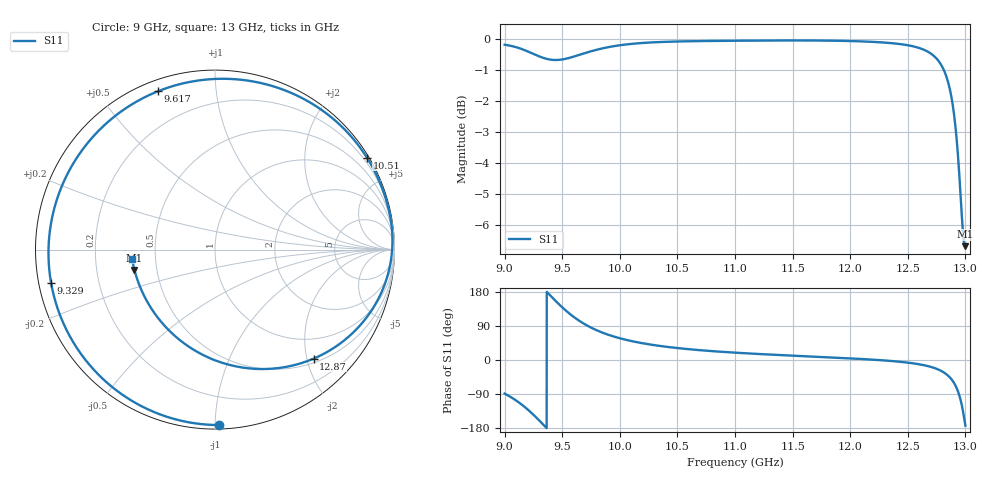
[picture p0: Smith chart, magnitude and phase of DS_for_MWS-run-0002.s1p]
! TOUCHSTONE file generated by CST DESIGN STUDIO
! Date and time: Tue Feb  4 17:22:45 2025
! Project name: C:\Work\MatlabApps\UnitCellOptimizationMatlab\CST\unitcell.cst
! Tree item: Tasks\Sweep1\SPara1\S-Parameters
! Header version: 2024
! Port assignment regex: !\s*Touchstone port\s*([0-9]+)\s*=\s*(CST MWS port|CST DES external port|CST DES block port)\s*(.+)\s* \(\"(.*)\"\)(\s*mode\s*([0-9]+))?.*
! Touchstone port assignment:
! Touchstone port 1 = CST DES external port 1 ("")
# GHz S MA R 50
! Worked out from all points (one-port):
!   4001 points, 9 GHz to 13 GHz, reference 50 ohm
!   lowest |S11| = -6.7 dB at 13 GHz (marker M1), VSWR 2.72, Z = 18.6 - j5.4 ohm
!   |S11| at or under -10 dB: nowhere
!   S11 on the Smith chart (normalised r, x): 9 GHz: 0.02, -1.02; 9.329 GHz: 0.04, -0.10; 9.617 GHz: 0.05, +0.70; 10.51 GHz: 0.07, +3.58; 12.87 GHz: 0.58, -2.12; 13 GHz: 0.37, -0.05
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9  0.9776 -88.6
9.092  0.9697 -105.3
9.171  0.9586 -123.1
9.245  0.9458 -143.0
9.329  0.932 -168.4
9.409  0.9245 166.3
9.5  0.9256 139.0
9.557  0.9305 123.9
9.617  0.9376 109.9
9.7  0.9481 93.7
9.802  0.9599 78.1
10  0.9757 57.4
10.216  0.9846 43.2
10.5  0.9895 31.5
10.509  0.9896 31.2
11  0.9922 19.4
11.5  0.9932 11.4
12  0.9911 4.3
12.5  0.9758 -7.0
12.638  0.9599 -13.6
12.747  0.9298 -22.9
12.818  0.8855 -33.8
12.871  0.819 -47.9
12.912  0.7261 -66.3
12.941  0.6276 -87.4
12.964  0.5366 -112.7
12.996  0.4629 -165.7
13  0.4647 -173.3
